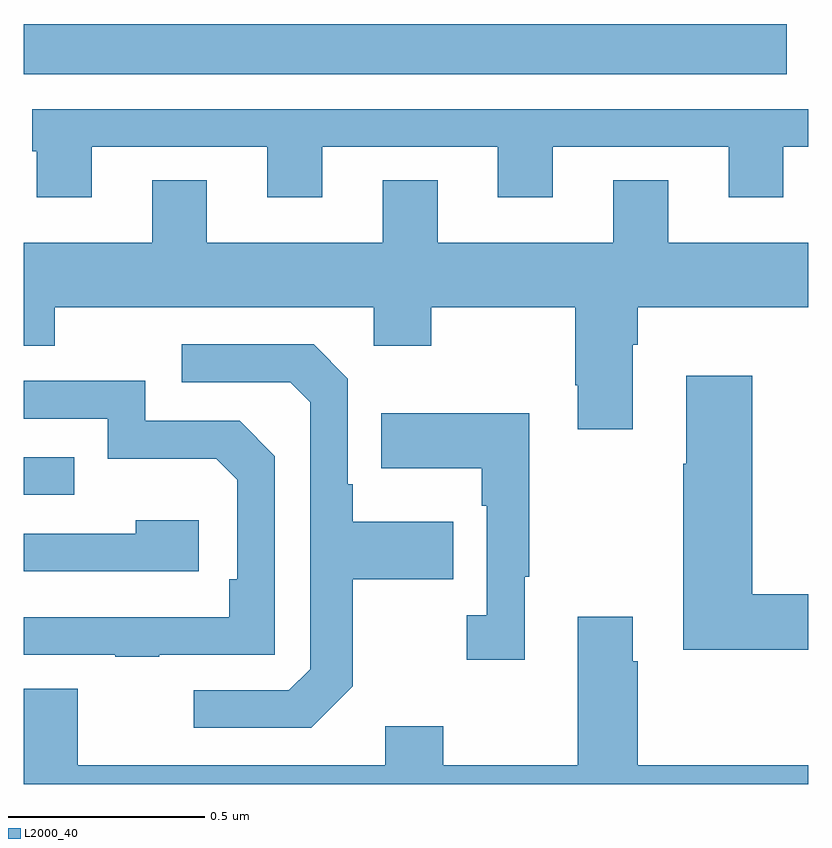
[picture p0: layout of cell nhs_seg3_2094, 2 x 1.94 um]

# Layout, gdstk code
import gdstk
lib = gdstk.Library(unit=1e-6, precision=1e-09)
def R(c, l, rs):  # rectangles x0, y0, x1, y1
    for r in rs: c.add(gdstk.rectangle(r[:2], r[2:], *l))
def P(c, l, *ps):  # polygons
    for p in ps: c.add(gdstk.Polygon(p, *l))
L2000_40 = (2000, 40)

nhs_seg3_2094 = lib.new_cell('nhs_seg3_2094')
R(nhs_seg3_2094, L2000_40, [(137,667.137,137.129,667.233), (137,668.21,138.946,668.338)])
P(nhs_seg3_2094, L2000_40, [(137.173,668.025),(137.621,668.025),(137.621,667.896),(137.761,667.896),(137.761,668.025),(138.209,668.025),(138.209,667.896),(138.349,667.896),(138.349,668.025),(138.797,668.025),(138.797,667.896),(138.937,667.896),(138.937,668.025),(139,668.025),(139,668.121),(137.021,668.121),(137.021,668.013),(137.033,668.013),(137.033,667.896),(137.173,667.896)],
  [(138.553,667.52),(138.566,667.52),(138.566,667.616),(139,667.616),(139,667.78),(138.643,667.78),(138.643,667.94),(138.503,667.94),(138.503,667.78),(138.055,667.78),(138.055,667.94),(137.915,667.94),(137.915,667.78),(137.467,667.78),(137.467,667.94),(137.327,667.94),(137.327,667.78),(137,667.78),(137,667.517),(137.079,667.517),(137.079,667.616),(137.892,667.616),(137.892,667.517),(138.039,667.517),(138.039,667.616),(138.406,667.616),(138.406,667.417),(138.413,667.417),(138.413,667.305),(138.553,667.305)],
  [(137.839,666.649),(137.839,666.922),(138.095,666.922),(138.095,667.069),(137.839,667.069),(137.839,667.165),(137.826,667.165),(137.826,667.434),(137.739,667.521),(137.403,667.521),(137.403,667.425),(137.679,667.425),(137.73,667.374),(137.73,666.693),(137.676,666.639),(137.433,666.639),(137.433,666.543),(137.733,666.543)],
  [(139,666.884),(138.857,666.884),(138.857,667.441),(138.689,667.441),(138.689,667.217),(138.682,667.217),(138.682,666.742),(139,666.742)],
  [(137.345,666.729),(137.64,666.729),(137.64,667.236),(137.55,667.326),(137.31,667.326),(137.31,667.428),(137,667.428),(137,667.332),(137.214,667.332),(137.214,667.229),(137.491,667.229),(137.544,667.176),(137.544,666.922),(137.524,666.922),(137.524,666.825),(137,666.825),(137,666.729),(137.233,666.729),(137.233,666.724),(137.345,666.724)],
  [(138.277,666.929),(138.289,666.929),(138.289,667.345),(137.911,667.345),(137.911,667.205),(138.168,667.205),(138.168,667.109),(138.18,667.109),(138.18,666.83),(138.129,666.83),(138.129,666.717),(138.277,666.717)],
  [(137.446,667.072),(137.285,667.072),(137.285,667.038),(137,667.038),(137,666.942),(137.446,666.942)],
  [(139,666.448),(138.566,666.448),(138.566,666.713),(138.553,666.713),(138.553,666.826),(138.413,666.826),(138.413,666.448),(138.069,666.448),(138.069,666.547),(137.921,666.547),(137.921,666.448),(137.137,666.448),(137.137,666.643),(137,666.643),(137,666.4),(139,666.4)])

lib.write_gds('nhs_seg3_2094.gds')
